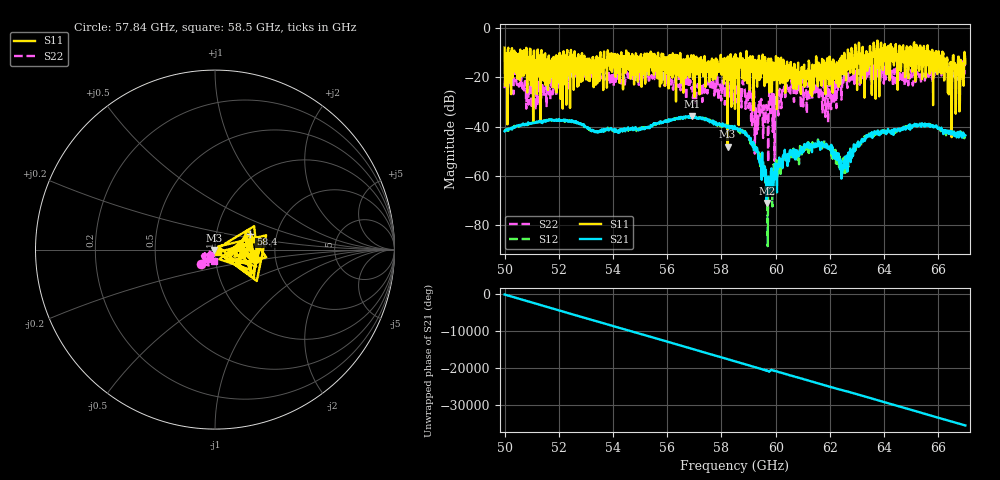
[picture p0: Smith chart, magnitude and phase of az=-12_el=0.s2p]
!Created with skrf (http://scikit-rf.org).
# GHz S RI R 50.0
!freq ReS11 ImS11 ReS21 ImS21 ReS12 ImS12 ReS22 ImS22
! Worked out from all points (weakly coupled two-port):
!   1001 points, 50 GHz to 67 GHz, reference 50 ohm
!   highest |S21| = -35.76 dB at 56.9 GHz (marker M1); lowest = -71.1 dB at 59.67 GHz (marker M2)
!   lowest |S11| = -48.3 dB at 58.23 GHz (marker M3), VSWR 1.01, Z = 49.7 - j0.227 ohm
!   |S11| at or under -10 dB: 52.59 GHz to 53.53 GHz (947.8 MHz wide, 1.79 % of centre); 55.66 GHz to 58.92 GHz (3.262 GHz wide, 5.69 % of centre); 58.93 GHz to 62.53 GHz (3.6 GHz wide, 5.93 % of centre) (the widest 3 of 60)
!   |S22| runs from -54.5 to -13.3 dB; largest |S21 - S12| = 0.0022
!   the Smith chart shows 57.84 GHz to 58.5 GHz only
!   S11 on the Smith chart (normalised r, x): 57.84 GHz: 1.55, -0.18; 58.4 GHz: 1.46, +0.26; 58.5 GHz: 1.03, -0.03
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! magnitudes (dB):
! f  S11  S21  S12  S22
! 50 GHz  -7.9  -41.9  -41.9  -24.4
! 50.15 GHz  -22.1  -41.1  -41.2  -21.0
! 51.14 GHz  -13.6  -38.4  -38.4  -33.3
! 52.84 GHz  -11.6  -39.2  -38.9  -19.7
! 55.68 GHz  -13.3  -38.6  -38.7  -20.9
! 56.9 GHz  -15.4  -35.8  -35.8  -24.0
! 57.84 GHz  -12.9  -38.7  -39.4  -19.2
! 58.23 GHz  -48.3  -39.6  -39.4  -23.4
! 58.4 GHz  -13.3  -39.8  -40.2  -25.7
! 58.5 GHz  -32.8  -40.7  -40.1  -24.0
! 59.11 GHz  -12.8  -47.4  -46.2  -34.6
! 59.3 GHz  -15.5  -48.5  -49.7  -43.0
! 59.67 GHz  -22.0  -71.1  -70.9  -31.9
! 60.34 GHz  -15.2  -49.5  -52.7  -25.3
! 61.34 GHz  -27.6  -50.4  -47.9  -27.5
! 62 GHz  -12.4  -48.1  -47.7  -24.1
! 62.51 GHz  -18.8  -54.0  -52.6  -21.0
! 63.28 GHz  -28.2  -45.1  -43.9  -16.9
! 64.18 GHz  -11.6  -42.0  -42.7  -17.6
! 66.1 GHz  -14.4  -41.3  -40.7  -18.3
! 66.44 GHz  -18.5  -42.6  -42.0  -16.4
! 67 GHz  -14.2  -43.6  -42.9  -14.3
